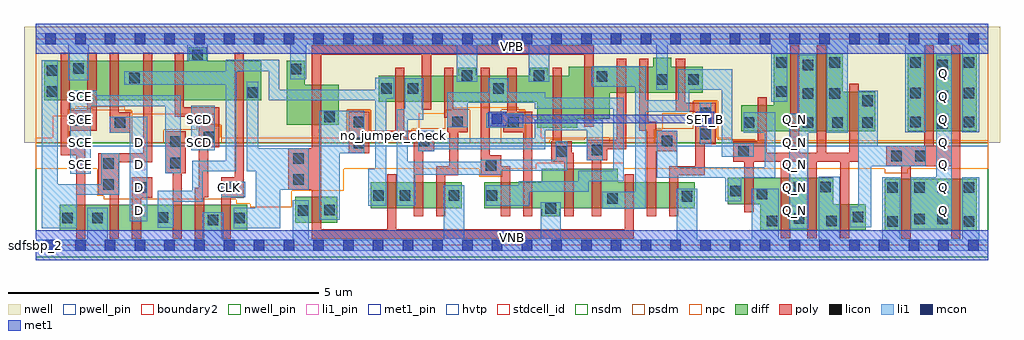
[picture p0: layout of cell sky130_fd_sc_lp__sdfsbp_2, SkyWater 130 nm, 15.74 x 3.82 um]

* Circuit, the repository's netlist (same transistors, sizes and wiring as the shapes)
* Copyright 2020 The SkyWater PDK Authors
*
* Licensed under the Apache License, Version 2.0 (the "License");
* you may not use this file except in compliance with the License.
* You may obtain a copy of the License at
*
*     https://www.apache.org/licenses/LICENSE-2.0
*
* Unless required by applicable law or agreed to in writing, software
* distributed under the License is distributed on an "AS IS" BASIS,
* WITHOUT WARRANTIES OR CONDITIONS OF ANY KIND, either express or implied.
* See the License for the specific language governing permissions and
* limitations under the License.
*
* SPDX-License-Identifier: Apache-2.0

.SUBCKT sky130_fd_sc_lp__sdfsbp_2 CLK D SCD SCE SET_B VGND VNB VPB VPWR Q Q_N
*.PININFO CLK:I D:I SCD:I SCE:I SET_B:I VGND:I VNB:I VPB:I VPWR:I Q:O
*.PININFO Q_N:O
MI645 sceb SCE VPWR VPB sky130_fd_pr__pfet_01v8_hvt m=1 w=0.64U l=0.15U mult=1
+ sa=0.265 sb=0.265 sd=0.28 area=0.063 perim=1.14
MI658 M1 M0 VPWR VPB sky130_fd_pr__pfet_01v8_hvt m=1 w=0.42U l=0.15U mult=1 sa=0.265
+ sb=0.265 sd=0.28 area=0.063 perim=1.14
MI47 clkpos clkneg VPWR VPB sky130_fd_pr__pfet_01v8_hvt m=1 w=0.64U l=0.15U mult=1
+ sa=0.265 sb=0.265 sd=0.28 area=0.063 perim=1.14
MI663 net175 S0 VPWR VPB sky130_fd_pr__pfet_01v8_hvt m=1 w=0.64U l=0.15U mult=1
+ sa=0.265 sb=0.265 sd=0.28 area=0.063 perim=1.14
MI660 Q net175 VPWR VPB sky130_fd_pr__pfet_01v8_hvt m=2 w=1.26U l=0.15U mult=1
+ sa=0.265 sb=0.265 sd=0.28 area=0.063 perim=1.14
MI659 M1 SET_B VPWR VPB sky130_fd_pr__pfet_01v8_hvt m=1 w=0.42U l=0.15U mult=1
+ sa=0.265 sb=0.265 sd=0.28 area=0.063 perim=1.14
MI661 Q_N S0 VPWR VPB sky130_fd_pr__pfet_01v8_hvt m=2 w=1.26U l=0.15U mult=1 sa=0.265
+ sb=0.265 sd=0.28 area=0.063 perim=1.14
MI662 net110 M1 VPWR VPB sky130_fd_pr__pfet_01v8_hvt m=1 w=0.42U l=0.15U mult=1
+ sa=0.265 sb=0.265 sd=0.28 area=0.063 perim=1.14
MI664 M0 clkneg net110 VPB sky130_fd_pr__pfet_01v8_hvt m=1 w=0.42U l=0.15U mult=1
+ sa=0.265 sb=0.265 sd=0.28 area=0.063 perim=1.14
MI6 net102 S1 VPWR VPB sky130_fd_pr__pfet_01v8_hvt m=1 w=0.42U l=0.15U mult=1 sa=0.265
+ sb=0.265 sd=0.28 area=0.063 perim=1.14
MI669 S0 clkpos net102 VPB sky130_fd_pr__pfet_01v8_hvt m=1 w=0.42U l=0.15U mult=1
+ sa=0.265 sb=0.265 sd=0.28 area=0.063 perim=1.14
MI24 S0 SET_B VPWR VPB sky130_fd_pr__pfet_01v8_hvt m=1 w=0.42U l=0.15U mult=1 sa=0.265
+ sb=0.265 sd=0.28 area=0.063 perim=1.14
MI648 S1 S0 VPWR VPB sky130_fd_pr__pfet_01v8_hvt m=1 w=0.42U l=0.15U mult=1 sa=0.265
+ sb=0.265 sd=0.28 area=0.063 perim=1.14
MI38 S0 clkneg net90 VPB sky130_fd_pr__pfet_01v8_hvt m=1 w=0.84U l=0.15U mult=1
+ sa=0.265 sb=0.265 sd=0.28 area=0.063 perim=1.14
MI37 net90 M0 VPWR VPB sky130_fd_pr__pfet_01v8_hvt m=1 w=0.84U l=0.15U mult=1 sa=0.265
+ sb=0.265 sd=0.28 area=0.063 perim=1.14
MI43 db clkpos M0 VPB sky130_fd_pr__pfet_01v8_hvt m=1 w=0.42U l=0.15U mult=1 sa=0.265
+ sb=0.265 sd=0.28 area=0.063 perim=1.14
MI45 clkneg CLK VPWR VPB sky130_fd_pr__pfet_01v8_hvt m=1 w=0.64U l=0.15U mult=1
+ sa=0.265 sb=0.265 sd=0.28 area=0.063 perim=1.14
MI101 db sceb p1 VPB sky130_fd_pr__pfet_01v8_hvt m=1 w=0.64U l=0.15U mult=1 sa=0.265
+ sb=0.265 sd=0.28 area=0.063 perim=1.14
MI107 p0 SCE VPWR VPB sky130_fd_pr__pfet_01v8_hvt m=1 w=0.64U l=0.15U mult=1 sa=0.265
+ sb=0.265 sd=0.28 area=0.063 perim=1.14
MI94 db D p0 VPB sky130_fd_pr__pfet_01v8_hvt m=1 w=0.64U l=0.15U mult=1 sa=0.265
+ sb=0.265 sd=0.28 area=0.063 perim=1.14
MI108 p1 SCD VPWR VPB sky130_fd_pr__pfet_01v8_hvt m=1 w=0.64U l=0.15U mult=1 sa=0.265
+ sb=0.265 sd=0.28 area=0.063 perim=1.14
MI34 S0 clkpos net203 VNB sky130_fd_pr__nfet_01v8 m=1 w=0.64U l=0.15U mult=1 sa=0.265
+ sb=0.265 sd=0.28 area=0.063 perim=1.14
MI27 net223 S1 net167 VNB sky130_fd_pr__nfet_01v8 m=1 w=0.42U l=0.15U mult=1 sa=0.265
+ sb=0.265 sd=0.28 area=0.063 perim=1.14
MI647 S1 S0 VGND VNB sky130_fd_pr__nfet_01v8 m=1 w=0.42U l=0.15U mult=1 sa=0.265
+ sb=0.265 sd=0.28 area=0.063 perim=1.14
MI655 M0 clkpos net214 VNB sky130_fd_pr__nfet_01v8 m=1 w=0.42U l=0.15U mult=1 sa=0.265
+ sb=0.265 sd=0.28 area=0.063 perim=1.14
MI656 M1 M0 net210 VNB sky130_fd_pr__nfet_01v8 m=1 w=0.42U l=0.15U mult=1 sa=0.265
+ sb=0.265 sd=0.28 area=0.063 perim=1.14
MI654 net214 M1 VGND VNB sky130_fd_pr__nfet_01v8 m=1 w=0.42U l=0.15U mult=1 sa=0.265
+ sb=0.265 sd=0.28 area=0.063 perim=1.14
MI36 net203 M0 VGND VNB sky130_fd_pr__nfet_01v8 m=1 w=0.64U l=0.15U mult=1 sa=0.265
+ sb=0.265 sd=0.28 area=0.063 perim=1.14
MI26 S0 clkneg net223 VNB sky130_fd_pr__nfet_01v8 m=1 w=0.42U l=0.15U mult=1 sa=0.265
+ sb=0.265 sd=0.28 area=0.063 perim=1.14
MI42 db clkneg M0 VNB sky130_fd_pr__nfet_01v8 m=1 w=0.42U l=0.15U mult=1 sa=0.265
+ sb=0.265 sd=0.28 area=0.063 perim=1.14
MI651 Q_N S0 VGND VNB sky130_fd_pr__nfet_01v8 m=2 w=0.84U l=0.15U mult=1 sa=0.265
+ sb=0.265 sd=0.28 area=0.063 perim=1.14
MI46 clkpos clkneg VGND VNB sky130_fd_pr__nfet_01v8 m=1 w=0.42U l=0.15U mult=1
+ sa=0.265 sb=0.265 sd=0.28 area=0.063 perim=1.14
MI44 clkneg CLK VGND VNB sky130_fd_pr__nfet_01v8 m=1 w=0.42U l=0.15U mult=1 sa=0.265
+ sb=0.265 sd=0.28 area=0.063 perim=1.14
MI657 net210 SET_B VGND VNB sky130_fd_pr__nfet_01v8 m=1 w=0.42U l=0.15U mult=1
+ sa=0.265 sb=0.265 sd=0.28 area=0.063 perim=1.14
MI652 net175 S0 VGND VNB sky130_fd_pr__nfet_01v8 m=1 w=0.42U l=0.15U mult=1 sa=0.265
+ sb=0.265 sd=0.28 area=0.063 perim=1.14
MI644 sceb SCE VGND VNB sky130_fd_pr__nfet_01v8 m=1 w=0.42U l=0.15U mult=1 sa=0.265
+ sb=0.265 sd=0.28 area=0.063 perim=1.14
MI25 net167 SET_B VGND VNB sky130_fd_pr__nfet_01v8 m=1 w=0.42U l=0.15U mult=1 sa=0.265
+ sb=0.265 sd=0.28 area=0.063 perim=1.14
MI653 Q net175 VGND VNB sky130_fd_pr__nfet_01v8 m=2 w=0.84U l=0.15U mult=1 sa=0.265
+ sb=0.265 sd=0.28 area=0.063 perim=1.14
MI98 db D n0 VNB sky130_fd_pr__nfet_01v8 m=1 w=0.42U l=0.15U mult=1 sa=0.265 sb=0.265
+ sd=0.28 area=0.525 perim=3.1
MI103 n1 SCD VGND VNB sky130_fd_pr__nfet_01v8 m=1 w=0.42U l=0.15U mult=1 sa=0.265
+ sb=0.265 sd=0.28 area=0.525 perim=3.1
MI120 db SCE n1 VNB sky130_fd_pr__nfet_01v8 m=1 w=0.42U l=0.15U mult=1 sa=0.265
+ sb=0.265 sd=0.28 area=0.525 perim=3.1
MI104 n0 sceb VGND VNB sky130_fd_pr__nfet_01v8 m=1 w=0.42U l=0.15U mult=1 sa=0.265
+ sb=0.265 sd=0.28 area=0.525 perim=3.1
.ENDS sky130_fd_sc_lp__sdfsbp_2

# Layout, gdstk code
import gdstk
lib = gdstk.Library(unit=1e-6, precision=1e-09)
def R(c, l, rs):  # rectangles x0, y0, x1, y1
    for r in rs: c.add(gdstk.rectangle(r[:2], r[2:], *l))
def A(c, l, x, y, w, h, nx, ny, dx, dy):  # array of equal rectangles
    R(c, l, [(x+i*dx, y+j*dy, x+i*dx+w, y+j*dy+h) for i in range(nx) for j in range(ny)])
def P(c, l, *ps):  # polygons
    for p in ps: c.add(gdstk.Polygon(p, *l))
nwell_pin = (64, 16)
nwell = (64, 20)
diff = (65, 20)
poly = (66, 20)
licon = (66, 44)
li1_pin = (67, 16)
li1 = (67, 20)
mcon = (67, 44)
met1_pin = (68, 16)
met1 = (68, 20)
hvtp = (78, 44)
stdcell_id = (81, 4)
nsdm = (93, 44)
psdm = (94, 20)
npc = (95, 20)
pwell_pin = (122, 16)
boundary2 = (236, 0)

sky130_fd_sc_lp__sdfsbp_ = lib.new_cell('sky130_fd_sc_lp__sdfsbp_2')
R(sky130_fd_sc_lp__sdfsbp_, nwell_pin, [(0,3.085,15.36,3.33)])
R(sky130_fd_sc_lp__sdfsbp_, nwell, [(-0.19,1.655,15.55,3.52)])
R(sky130_fd_sc_lp__sdfsbp_, diff, [(0.385,0.235,3.41,0.655), (13.695,0.235,15.175,1.075), (4.185,0.365,4.865,0.785), (5.4,0.595,6.87,1.015), (14.065,1.835,15.175,3.095)])
P(sky130_fd_sc_lp__sdfsbp_, diff, [(3.64,2.975),(2.755,2.975),(2.755,3.195),(2.465,3.195),(2.465,2.975),(0.135,2.975),(0.135,2.335),(3.64,2.335)],
  [(4.885,2.585),(4.34,2.585),(4.34,2.975),(4.05,2.975),(4.05,1.945),(4.885,1.945)],
  [(10.63,1.015),(9.385,1.015),(9.385,1.235),(8.16,1.235),(8.16,1.015),(7.235,1.015),(7.235,0.595),(8.16,0.595),(8.16,0.465),(8.45,0.465),(8.45,0.595),(10.63,0.595)],
  [(10.755,2.88),(10.245,2.88),(10.245,3.025),(9.955,3.025),(9.955,2.88),(8.595,2.88),(8.595,2.735),(8.26,2.735),(8.26,2.86),(7.97,2.86),(7.97,2.735),(7.1,2.735),(7.1,2.86),(6.81,2.86),(6.81,2.735),(5.53,2.735),(5.53,2.315),(8.085,2.315),(8.085,1.895),(8.735,1.895),(8.735,2.04),(9.26,2.04),(9.26,2.46),(10.755,2.46)],
  [(13.385,0.665),(12.86,0.665),(12.86,1.085),(11.16,1.085),(11.16,0.665),(11.685,0.665),(11.685,0.245),(13.385,0.245)],
  [(13.535,2.475),(13.01,2.475),(13.01,3.095),(11.9,3.095),(11.9,2.255),(11.375,2.255),(11.375,1.835),(13.535,1.835)])
P(sky130_fd_sc_lp__sdfsbp_, poly, [(0.98,3.105),(0.83,3.105),(0.83,2.175),(0.55,2.175),(0.55,3.105),(0.4,3.105),(0.4,1.455),(0.65,1.455),(0.65,0.105),(0.8,0.105),(0.8,1.605),(0.55,1.605),(0.55,1.845),(0.98,1.845)],
  [(1.52,2.145),(1.34,2.145),(1.34,3.105),(1.19,3.105),(1.19,1.815),(1.52,1.815)],
  [(1.88,3.105),(1.73,3.105),(1.73,1.485),(1.01,1.485),(1.01,0.815),(1.19,0.815),(1.19,0.105),(1.34,0.105),(1.34,1.335),(1.88,1.335)],
  [(1.88,1.095),(1.55,1.095),(1.55,0.105),(1.7,0.105),(1.7,0.765),(1.88,0.765)],
  [(2.42,1.835),(2.09,1.835),(2.09,1.165),(2.205,1.165),(2.205,0.105),(2.355,0.105),(2.355,1.165),(2.42,1.165)],
  [(2.96,2.225),(2.39,2.225),(2.39,3.105),(2.24,3.105),(2.24,2.075),(2.63,2.075),(2.63,0.925),(2.565,0.925),(2.565,0.105),(2.715,0.105),(2.715,0.775),(2.78,0.775),(2.78,1.58),(2.96,1.58)],
  [(3.355,3.105),(3.205,3.105),(3.205,1.095),(2.995,1.095),(2.995,0.105),(3.145,0.105),(3.145,0.765),(3.355,0.765)],
  [(6.425,1.845),(5.945,1.845),(5.945,2.865),(5.795,2.865),(5.795,1.845),(5.375,1.845),(5.375,2.155),(5.045,2.155),(5.045,1.485),(5.375,1.485),(5.375,1.695),(6.095,1.695),(6.095,0.465),(6.245,0.465),(6.245,1.515),(6.425,1.515)],
  [(6.965,2.205),(6.735,2.205),(6.735,2.865),(6.585,2.865),(6.585,2.055),(6.635,2.055),(6.635,1.825),(6.665,1.825),(6.665,1.275),(6.455,1.275),(6.455,0.465),(6.605,0.465),(6.605,1.125),(6.815,1.125),(6.815,1.825),(6.965,1.825)],
  [(7.65,1.275),(7.505,1.275),(7.505,1.455),(7.325,1.455),(7.325,2.865),(7.175,2.865),(7.175,1.125),(7.5,1.125),(7.5,0.465),(7.65,0.465)],
  [(8.01,2.155),(7.755,2.155),(7.755,2.865),(7.605,2.865),(7.605,2.155),(7.535,2.155),(7.535,1.825),(7.86,1.825),(7.86,0.465),(8.01,0.465)],
  [(8.675,1.495),(8.645,1.495),(8.645,1.675),(8.485,1.675),(8.485,2.865),(8.335,2.865),(8.335,1.675),(8.315,1.675),(8.315,1.345),(8.525,1.345),(8.525,0.465),(8.675,0.465)],
  [(9.52,3.01),(9.37,3.01),(9.37,1.7),(8.885,1.7),(8.885,1.37),(8.97,1.37),(8.97,0.465),(9.12,0.465),(9.12,1.37),(9.215,1.37),(9.215,1.55),(9.52,1.55)],
  [(9.645,1.145),(9.495,1.145),(9.495,0.255),(5.815,0.255),(5.815,1.145),(5.665,1.145),(5.665,0.255),(4.6,0.255),(4.6,3.075),(6.225,3.075),(6.225,2.185),(6.375,2.185),(6.375,3.075),(8.845,3.075),(8.845,1.91),(8.995,1.91),(8.995,3.225),(4.45,3.225),(4.45,1.565),(4.075,1.565),(4.075,0.895),(4.45,0.895),(4.45,0.105),(9.645,0.105)],
  [(10.345,1.845),(10.005,1.845),(10.005,1.995),(9.88,1.995),(9.88,3.01),(9.73,3.01),(9.73,1.845),(9.855,1.845),(9.855,0.465),(10.005,0.465),(10.005,1.515),(10.345,1.515)],
  [(10.965,2.3),(10.47,2.3),(10.47,3.01),(10.32,3.01),(10.32,2.15),(10.635,2.15),(10.635,1.275),(10.215,1.275),(10.215,0.465),(10.365,0.465),(10.365,1.125),(10.785,1.125),(10.785,1.63),(10.965,1.63)],
  [(13.27,2.605),(13.12,2.605),(13.12,1.495),(12.745,1.495),(12.745,3.225),(12.595,3.225),(12.595,1.495),(12.315,1.495),(12.315,3.225),(12.165,3.225),(12.165,1.495),(11.79,1.495),(11.79,2.385),(11.64,2.385),(11.64,1.675),(11.245,1.675),(11.245,1.345),(11.425,1.345),(11.425,0.535),(11.575,0.535),(11.575,1.345),(12.015,1.345),(12.015,0.115),(12.165,0.115),(12.165,1.345),(12.445,1.345),(12.445,0.115),(12.595,0.115),(12.595,1.345),(12.97,1.345),(12.97,0.115),(13.12,0.115),(13.12,1.345),(13.27,1.345)],
  [(14.91,3.225),(14.76,3.225),(14.76,1.605),(14.48,1.605),(14.48,3.225),(14.33,3.225),(14.33,1.605),(13.715,1.605),(13.715,1.275),(13.96,1.275),(13.96,0.105),(14.11,0.105),(14.11,1.275),(14.76,1.275),(14.76,0.105),(14.91,0.105)])
R(sky130_fd_sc_lp__sdfsbp_, licon, [(13.735,0.295,13.905,0.465), (14.965,0.295,15.135,0.465), (11.79,0.305,11.96,0.475), (12.745,0.305,12.915,0.475), (2.77,0.325,2.94,0.495), (14.165,0.335,14.335,0.505), (14.535,0.335,14.705,0.505), (12.22,0.345,12.39,0.515), (0.425,0.355,0.595,0.525), (0.91,0.355,1.08,0.525), (3.2,0.355,3.37,0.525), (1.97,0.36,2.14,0.53), (13.175,0.37,13.345,0.54), (4.225,0.475,4.395,0.645), (4.655,0.48,4.825,0.65), (8.22,0.505,8.39,0.675), (9.215,0.67,9.385,0.84), (10.42,0.705,10.59,0.875), (5.44,0.72,5.61,0.89), (5.87,0.72,6.04,0.89), (6.66,0.72,6.83,0.89), (7.275,0.72,7.445,0.89), (11.63,0.745,11.8,0.915), (11.2,0.79,11.37,0.96), (1.63,0.845,1.8,1.015), (3.075,0.845,3.245,1.015), (13.735,0.845,13.905,1.015), (14.165,0.845,14.335,1.015), (14.535,0.845,14.705,1.015), (14.965,0.845,15.135,1.015), (12.22,0.855,12.39,1.025), (12.65,0.855,12.82,1.025), (1.09,0.895,1.26,1.065), (4.155,0.975,4.325,1.145), (7.255,1.205,7.425,1.375), (1.09,1.235,1.26,1.405), (2.17,1.245,2.34,1.415), (4.155,1.315,4.325,1.485), (13.795,1.355,13.965,1.525), (14.185,1.355,14.355,1.525), (8.395,1.425,8.565,1.595), (11.325,1.425,11.495,1.595), (8.965,1.45,9.135,1.62), (5.125,1.565,5.295,1.735), (2.17,1.585,2.34,1.755), (6.175,1.595,6.345,1.765), (10.095,1.595,10.265,1.765), (2.71,1.66,2.88,1.83), (10.715,1.71,10.885,1.88), (14.535,1.875,14.705,2.045), (1.27,1.895,1.44,2.065), (11.415,1.895,11.585,2.065), (12.37,1.895,12.54,2.065), (12.845,1.895,13.015,2.065), (13.325,1.895,13.495,2.065), (14.105,1.9,14.275,2.07), (14.965,1.9,15.135,2.07), (5.125,1.905,5.295,2.075), (6.715,1.905,6.885,2.075), (7.615,1.905,7.785,2.075), (0.635,1.925,0.805,2.095), (4.655,1.985,4.825,2.155), (10.715,2.05,10.885,2.22), (13.325,2.245,13.495,2.415), (14.535,2.32,14.705,2.49), (12.8,2.36,12.97,2.53), (12.37,2.365,12.54,2.535), (14.105,2.37,14.275,2.54), (14.965,2.37,15.135,2.54), (3.41,2.375,3.58,2.545), (0.175,2.395,0.345,2.565), (11.94,2.395,12.11,2.565), (5.57,2.44,5.74,2.61), (6,2.44,6.17,2.61), (7.38,2.44,7.55,2.61), (10.015,2.585,10.185,2.755), (10.525,2.585,10.695,2.755), (1.505,2.615,1.675,2.785), (9.05,2.635,9.22,2.805), (6.87,2.65,7.04,2.82), (8.03,2.65,8.2,2.82), (0.175,2.735,0.345,2.905), (4.11,2.755,4.28,2.925), (0.605,2.765,0.775,2.935), (12.37,2.825,12.54,2.995), (14.535,2.825,14.705,2.995), (11.94,2.865,12.11,3.035), (12.8,2.865,12.97,3.035), (14.105,2.865,14.275,3.035), (14.965,2.865,15.135,3.035), (2.525,2.985,2.695,3.155)])
A(sky130_fd_sc_lp__sdfsbp_, li1_pin, 1.595, 0.47, 0.17, 0.17, 1, 3, 0, 0.37)
A(sky130_fd_sc_lp__sdfsbp_, li1_pin, 12.155, 0.47, 0.17, 0.17, 1, 5, 0, 0.37)
A(sky130_fd_sc_lp__sdfsbp_, li1_pin, 14.555, 0.47, 0.17, 0.17, 1, 7, 0, 0.37)
A(sky130_fd_sc_lp__sdfsbp_, li1_pin, 0.635, 1.58, 0.17, 0.17, 3, 1, 0.96, 0)
R(sky130_fd_sc_lp__sdfsbp_, li1_pin, [(3.035,0.84,3.205,1.01), (0.635,1.21,0.805,1.38), (0.635,1.95,0.805,2.12), (2.555,1.95,2.725,2.12), (0.635,2.32,0.805,2.49)])
R(sky130_fd_sc_lp__sdfsbp_, li1, [(2.995,0.775,3.38,1.025), (2.51,1.535,2.89,2.25), (10.705,1.63,10.895,2.3), (7.265,1.895,7.865,2.13)])
P(sky130_fd_sc_lp__sdfsbp_, li1, [(11.86,2.315),(11.86,3.245),(10.195,3.245),(10.195,2.505),(10.005,2.505),(10.005,3.245),(8.28,3.245),(8.28,2.64),(7.95,2.64),(7.95,3.245),(7.12,3.245),(7.12,2.64),(6.79,2.64),(6.79,3.245),(4.36,3.245),(4.36,2.675),(4.1,2.675),(4.1,3.245),(2.775,3.245),(2.775,2.975),(2.445,2.975),(2.445,3.245),(0.855,3.245),(0.855,2.66),(0.525,2.66),(0.525,3.245),(0,3.245),(0,3.415),(15.36,3.415),(15.36,3.245),(15.215,3.245),(15.215,1.82),(14.945,1.82),(14.945,3.245),(14.355,3.245),(14.355,1.82),(14.025,1.82),(14.025,3.245),(13.095,3.245),(13.095,1.815),(12.755,1.815),(12.755,3.245),(12.12,3.245),(12.12,2.315)],
  [(10.34,0.085),(10.34,0.915),(10.67,0.915),(10.67,0.085),(11.55,0.085),(11.55,0.915),(11.985,0.915),(11.985,0.085),(12.63,0.085),(12.63,1.105),(12.965,1.105),(12.965,0.085),(13.655,0.085),(13.655,1.095),(13.94,1.095),(13.94,0.085),(14.945,0.085),(14.945,1.095),(15.215,1.095),(15.215,0.085),(15.36,0.085),(15.36,-0.085),(0,-0.085),(0,0.085),(0.83,0.085),(0.83,0.605),(1.16,0.605),(1.16,0.085),(2.69,0.085),(2.69,0.535),(3.02,0.535),(3.02,0.085),(4.145,0.085),(4.145,0.725),(4.405,0.725),(4.405,0.085),(6.58,0.085),(6.58,0.97),(6.91,0.97),(6.91,0.085),(8.14,0.085),(8.14,0.695),(8.47,0.695),(8.47,0.085)],
  [(14.525,1.095),(14.525,3.075),(14.775,3.075),(14.775,0.255),(14.11,0.255),(14.11,1.095)],
  [(0.355,0.985),(1.055,0.985),(1.055,1.485),(1.345,1.485),(1.345,0.815),(0.66,0.815),(0.66,0.275),(0.095,0.275),(0.095,2.985),(0.355,2.985)],
  [(0.985,2.49),(0.985,2.415),(2.34,2.415),(2.34,1.165),(2.09,1.165),(2.09,2.245),(0.885,2.245),(0.885,1.155),(0.555,1.155),(0.555,2.49)],
  [(11.065,2.505),(10.535,2.505),(10.535,2.155),(9.835,2.155),(9.835,0.59),(9.135,0.59),(9.135,0.86),(9.665,0.86),(9.665,2.555),(8.97,2.555),(8.97,2.885),(9.835,2.885),(9.835,2.335),(10.365,2.335),(10.365,2.835),(11.235,2.835),(11.235,1.645),(11.575,1.645),(11.575,1.425),(11.065,1.425)],
  [(3.59,1.565),(4.405,1.565),(4.405,0.895),(3.94,0.895),(3.94,0.275),(3.19,0.275),(3.19,0.605),(3.55,0.605),(3.55,1.195),(3.4,1.195),(3.4,2.635),(3.59,2.635)],
  [(3.76,2.335),(3.76,2.805),(3.23,2.805),(3.23,1.195),(2.69,1.195),(2.69,0.705),(2.22,0.705),(2.22,0.28),(1.97,0.28),(1.97,0.875),(2.52,0.875),(2.52,1.365),(3.06,1.365),(3.06,2.585),(1.425,2.585),(1.425,2.805),(3.06,2.805),(3.06,2.995),(3.93,2.995),(3.93,2.505),(5.475,2.505),(5.475,2.705),(5.78,2.705),(5.78,2.36),(5.655,2.36),(5.655,0.64),(5.36,0.64),(5.36,1.235),(5.475,1.235),(5.475,2.335)],
  [(7.505,1.205),(7.505,1.14),(6.12,1.14),(6.12,0.64),(5.825,0.64),(5.825,2.19),(5.95,2.19),(5.95,2.69),(6.25,2.69),(6.25,2.02),(5.995,2.02),(5.995,1.345),(7.175,1.345),(7.175,1.375),(8.385,1.375),(8.385,1.675),(8.575,1.675),(8.575,1.205)],
  [(6.425,1.725),(8.045,1.725),(8.045,2.025),(9.145,2.025),(9.145,1.37),(8.885,1.37),(8.885,1.855),(8.215,1.855),(8.215,1.545),(6.43,1.545),(6.43,1.515),(6.165,1.515),(6.165,1.845),(6.425,1.845)],
  [(13.575,1.605),(14.355,1.605),(14.355,1.275),(13.475,1.275),(13.475,0.29),(13.135,0.29),(13.135,0.62),(13.265,0.62),(13.265,2.495),(13.575,2.495)],
  [(1.515,0.385),(1.515,1.815),(1.19,1.815),(1.19,2.075),(1.8,2.075),(1.8,0.385)],
  [(10.015,1.085),(10.015,1.845),(10.345,1.845),(10.345,1.255),(11.755,1.255),(11.755,1.815),(11.415,1.815),(11.415,2.145),(11.925,2.145),(11.925,1.085),(11.38,1.085),(11.38,0.71),(11.12,0.71),(11.12,1.085)],
  [(4.575,2.165),(5.295,2.165),(5.295,1.485),(4.905,1.485),(4.905,0.41),(4.575,0.41)],
  [(12.155,0.265),(12.155,2.12),(12.29,2.12),(12.29,3.075),(12.585,3.075),(12.585,1.815),(12.46,1.815),(12.46,0.265)],
  [(6.635,2.47),(7.3,2.47),(7.3,2.69),(7.63,2.69),(7.63,2.47),(8.215,2.47),(8.215,2.375),(9.485,2.375),(9.485,1.03),(8.915,1.03),(8.915,0.865),(7.96,0.865),(7.96,0.64),(7.255,0.64),(7.255,0.97),(7.79,0.97),(7.79,1.035),(8.745,1.035),(8.745,1.2),(9.315,1.2),(9.315,2.205),(8.045,2.205),(8.045,2.3),(6.965,2.3),(6.965,1.905),(6.635,1.905)])
A(sky130_fd_sc_lp__sdfsbp_, mcon, 0.155, -0.085, 0.17, 0.17, 32, 2, 0.48, 3.33)
R(sky130_fd_sc_lp__sdfsbp_, mcon, [(7.355,1.95,7.525,2.12), (10.715,1.95,10.885,2.12)])
R(sky130_fd_sc_lp__sdfsbp_, met1_pin, [(0,0,15.36,0.245), (10.715,1.95,10.885,2.12), (0,3.085,15.36,3.33)])
R(sky130_fd_sc_lp__sdfsbp_, met1, [(0,-0.245,15.36,0.245), (0,3.085,15.36,3.575)])
P(sky130_fd_sc_lp__sdfsbp_, met1, [(7.585,2.105),(10.655,2.105),(10.655,2.15),(10.945,2.15),(10.945,1.92),(10.655,1.92),(10.655,1.965),(7.585,1.965),(7.585,1.92),(7.295,1.92),(7.295,2.15),(7.585,2.15)])
R(sky130_fd_sc_lp__sdfsbp_, hvtp, [(0,1.6,15.36,3.33)])
R(sky130_fd_sc_lp__sdfsbp_, stdcell_id, [(0,0,15.36,3.33)])
R(sky130_fd_sc_lp__sdfsbp_, nsdm, [(0,-0.19,15.36,1.655)])
P(sky130_fd_sc_lp__sdfsbp_, psdm, [(15.36,3.52),(0,3.52),(0,1.655),(0.525,1.655),(0.525,2.205),(0.915,2.205),(0.915,2.175),(1.55,2.175),(1.55,1.655),(2.06,1.655),(2.06,1.865),(2.6,1.865),(2.6,1.94),(2.99,1.94),(2.99,1.655),(5.015,1.655),(5.015,2.185),(5.405,2.185),(5.405,1.655),(6.065,1.655),(6.065,1.875),(6.605,1.875),(6.605,2.185),(6.995,2.185),(6.995,1.655),(7.505,1.655),(7.505,2.185),(7.895,2.185),(7.895,1.655),(8.285,1.655),(8.285,1.705),(8.855,1.705),(8.855,1.73),(9.245,1.73),(9.245,1.655),(9.985,1.655),(9.985,1.875),(10.605,1.875),(10.605,2.33),(10.995,2.33),(10.995,1.705),(11.605,1.705),(11.605,1.655),(15.36,1.655)])
P(sky130_fd_sc_lp__sdfsbp_, npc, [(15.36,1.695),(11.235,1.695),(11.235,1.73),(10.985,1.73),(10.985,2.32),(10.615,2.32),(10.615,2.13),(10.1,2.13),(10.1,1.865),(9.995,1.865),(9.995,1.73),(8.15,1.73),(8.15,2.07),(7.885,2.07),(7.885,2.175),(7.78,2.175),(7.78,2.225),(6.72,2.225),(6.72,2.175),(6.615,2.175),(6.615,2.13),(6.18,2.13),(6.18,1.865),(6.075,1.865),(6.075,1.73),(5.395,1.73),(5.395,2.175),(5.025,2.175),(5.025,1.73),(2.98,1.73),(2.98,1.93),(2.875,1.93),(2.875,2.12),(1.54,2.12),(1.54,2.165),(1.435,2.165),(1.435,2.245),(0.64,2.245),(0.64,2.195),(0.535,2.195),(0.535,2.09),(0.27,2.09),(0.27,1.73),(0,1.73),(0,1.23),(0.99,1.23),(0.99,0.795),(1.095,0.795),(1.095,0.745),(3.235,0.745),(3.235,0.67),(3.46,0.67),(3.46,0.61),(4.125,0.61),(4.125,0.875),(4.965,0.875),(4.965,1.23),(7.155,1.23),(7.155,1.105),(7.525,1.105),(7.525,1.23),(8.07,1.23),(8.07,1.325),(9.475,1.325),(9.475,1.23),(13.695,1.23),(13.695,1.165),(14.065,1.165),(14.065,1.23),(15.36,1.23)])
R(sky130_fd_sc_lp__sdfsbp_, pwell_pin, [(0,0,15.36,0.245)])
R(sky130_fd_sc_lp__sdfsbp_, boundary2, [(0,0,15.36,3.33)])
sky130_fd_sc_lp__sdfsbp_.add(gdstk.Label('VNB', (7.68,0.123), layer=64, texttype=59))
sky130_fd_sc_lp__sdfsbp_.add(gdstk.Label('VPB', (7.68,3.208), layer=64, texttype=5))
sky130_fd_sc_lp__sdfsbp_.add(gdstk.Label('sdfsbp_2', (0,0), layer=83, texttype=44))
sky130_fd_sc_lp__sdfsbp_.add(gdstk.Label('no_jumper_check', (5.77,1.775), layer=83, texttype=44))
sky130_fd_sc_lp__sdfsbp_.add(gdstk.Label('SET_B', (10.8,2.035), layer=68, texttype=5))
sky130_fd_sc_lp__sdfsbp_.add(gdstk.Label('VPWR', (7.68,3.208), layer=68, texttype=5))
sky130_fd_sc_lp__sdfsbp_.add(gdstk.Label('VGND', (7.68,0.123), layer=68, texttype=5))
sky130_fd_sc_lp__sdfsbp_.add(gdstk.Label('Q', (14.64,0.555), layer=67, texttype=5))
sky130_fd_sc_lp__sdfsbp_.add(gdstk.Label('Q', (14.64,0.925), layer=67, texttype=5))
sky130_fd_sc_lp__sdfsbp_.add(gdstk.Label('Q', (14.64,1.295), layer=67, texttype=5))
sky130_fd_sc_lp__sdfsbp_.add(gdstk.Label('Q', (14.64,1.665), layer=67, texttype=5))
sky130_fd_sc_lp__sdfsbp_.add(gdstk.Label('Q', (14.64,2.035), layer=67, texttype=5))
sky130_fd_sc_lp__sdfsbp_.add(gdstk.Label('Q', (14.64,2.405), layer=67, texttype=5))
sky130_fd_sc_lp__sdfsbp_.add(gdstk.Label('Q', (14.64,2.775), layer=67, texttype=5))
sky130_fd_sc_lp__sdfsbp_.add(gdstk.Label('CLK', (3.12,0.925), layer=67, texttype=5))
sky130_fd_sc_lp__sdfsbp_.add(gdstk.Label('SCE', (0.72,1.295), layer=67, texttype=5))
sky130_fd_sc_lp__sdfsbp_.add(gdstk.Label('SCE', (0.72,1.665), layer=67, texttype=5))
sky130_fd_sc_lp__sdfsbp_.add(gdstk.Label('SCE', (0.72,2.035), layer=67, texttype=5))
sky130_fd_sc_lp__sdfsbp_.add(gdstk.Label('SCE', (0.72,2.405), layer=67, texttype=5))
sky130_fd_sc_lp__sdfsbp_.add(gdstk.Label('SCD', (2.64,1.665), layer=67, texttype=5))
sky130_fd_sc_lp__sdfsbp_.add(gdstk.Label('SCD', (2.64,2.035), layer=67, texttype=5))
sky130_fd_sc_lp__sdfsbp_.add(gdstk.Label('D', (1.68,0.555), layer=67, texttype=5))
sky130_fd_sc_lp__sdfsbp_.add(gdstk.Label('D', (1.68,0.925), layer=67, texttype=5))
sky130_fd_sc_lp__sdfsbp_.add(gdstk.Label('D', (1.68,1.295), layer=67, texttype=5))
sky130_fd_sc_lp__sdfsbp_.add(gdstk.Label('D', (1.68,1.665), layer=67, texttype=5))
sky130_fd_sc_lp__sdfsbp_.add(gdstk.Label('Q_N', (12.24,0.555), layer=67, texttype=5))
sky130_fd_sc_lp__sdfsbp_.add(gdstk.Label('Q_N', (12.24,0.925), layer=67, texttype=5))
sky130_fd_sc_lp__sdfsbp_.add(gdstk.Label('Q_N', (12.24,1.295), layer=67, texttype=5))
sky130_fd_sc_lp__sdfsbp_.add(gdstk.Label('Q_N', (12.24,1.665), layer=67, texttype=5))
sky130_fd_sc_lp__sdfsbp_.add(gdstk.Label('Q_N', (12.24,2.035), layer=67, texttype=5))

lib.write_gds('sky130_fd_sc_lp__sdfsbp_2.gds')
